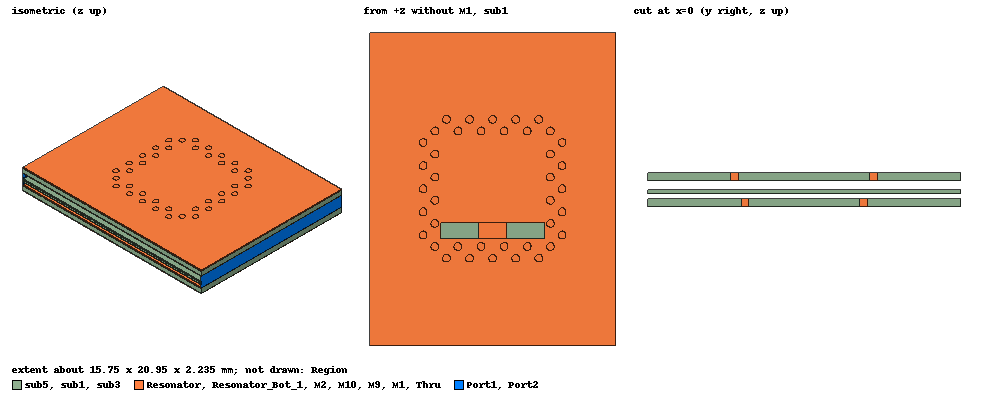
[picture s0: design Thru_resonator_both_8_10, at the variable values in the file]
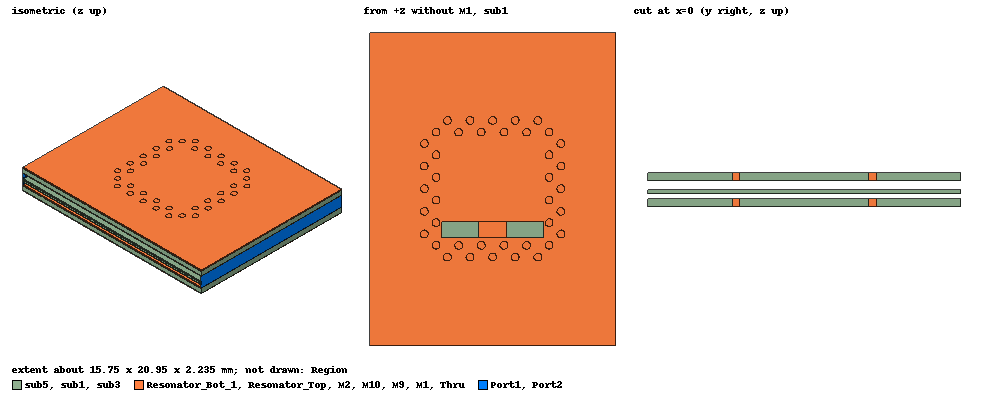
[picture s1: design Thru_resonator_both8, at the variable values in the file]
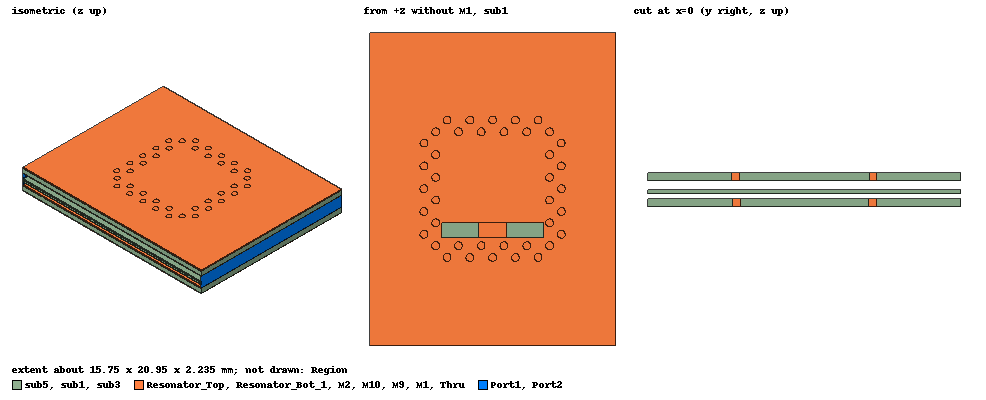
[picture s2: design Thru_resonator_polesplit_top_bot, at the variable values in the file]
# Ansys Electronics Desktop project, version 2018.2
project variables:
  $mask = 0.8mil
  $sub5 = 20mil
  $gap = 0mm
  $sub1 = 20mil
  $sub3 = 10mil
  $width = $a*2 + $l + 2mm
  $a = 6mm
  $l = $stripline_w
  $stripline_w = 1.75mm
  $length = (95-0.6) mm
  $GCPW_w = 2.15mm
  $GCPW_l = 4.7mm
  $cavity_length = 80mm
  $cavity_width = 30mm
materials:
  Rogers RO3010 (tm): permittivity=10.2 dielectric_loss_tangent=0.0035
  Rogers RT/duroid 6002 (tm): permittivity=2.94 dielectric_loss_tangent=0.0012
  air: permittivity=1.0006 permeability=1.0000004
  copper: permeability=0.999991 conductivity=58000000
  vacuum: permittivity=1

design Thru_resonator_both_8_10 (HFSS, DrivenModal, model units mm)
options: Calculate_Lossy_Dielectrics
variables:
  layer3_height = 4*$mask + $sub5 + sub4 + $gap*2
  length = (2.5 - 1 - .633) mm
  gap = 0.889mm
  w_2 = 0.61mm
  layer1_height = 8*$mask + $sub5 + sub4 + $sub3 + sub2 + $gap*4
  layer2_height = 6*$mask + $sub5 + sub4 + $sub3 + $gap*3
  layer4_height = 2*$mask + $sub5 + $gap
  height = $mask*10 + $sub1 + sub2 + $sub3 + sub4 + $sub5
  radius = 0.25mm
  via = 0.5mm
  radius_s = 0.1mm
  height_s = $mask*6 + $sub1 + sub2 + $sub3
  port_width = 14.6mm
  port_height = 6mm
  gap1 = 20mm
  wid = 7.25mm + via_r/2
  via_r = 0.25mm
  aper = 1mm
  sub1 = 20mil
  sub2 = 20mil
  sub4 = 10mil
  wid_bot = 5.95mm + via_r/2
  a = 4.6mm
  g = 0.2mm
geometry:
  sub3 [Rogers RT/duroid 6002 (tm)] = box(corner=(-$width/2, -$length/2, 5*$mask + $sub5 + sub4 + $gap*2), size=($width, $length, $sub3))
  Rectangle5 = rectangle(corner=(-$GCPW_w/2, -$length/2, layer3_height + $mask + $sub3), x_size=$GCPW_w, y_size=$GCPW_l - gap)
  Thru [copper] = Rectangle5.duplicate_around_axis(axis=Z, angle=180deg, total=2)
  Thru.thicken($mask)
  Polyline1 = polyline(z=layer3_height + $mask + $sub3, xy: ($GCPW_w/2, $length/2 - $GCPW_l + gap) (0.305mm, $length/2 - $GCPW_l -1 mm) (-0.305mm, $length/2 - $GCPW_l -1 mm) (-$GCPW_w/2, $length/2 - $GCPW_l + gap) ($GCPW_w/2, $length/2 - $GCPW_l + gap), closed, covered)
  Polyline1.thicken(-$mask)
  Rectangle8 = rectangle(corner=(-w_2/2, -$length/2 + $GCPW_l +1 mm, layer3_height+$mask+$sub3), x_size=w_2, y_size=length)
  Rectangle8_1 = Rectangle8.duplicate_around_axis(axis=Z, angle=180deg, total=2)
  Rectangle8_1.thicken($mask)
  Polyline2 = polyline(z=layer3_height + $mask + $sub3, xy: (0.305mm, $length/2 - $GCPW_l -1 mm - length) ($stripline_w/2, $cavity_length/2 - gap) (-$stripline_w/2, $cavity_length/2 - gap) (-0.305mm, $length/2 - $GCPW_l -1 mm - length) (0.305mm, $length/2 - $GCPW_l -1 mm - length), closed, covered)
  Polyline2.thicken(-$mask)
  Rectangle6 = rectangle(corner=(-$stripline_w/2, -$cavity_length/2 + gap, layer3_height + $mask + $sub3), x_size=$stripline_w, y_size=$cavity_length - 2*gap)
  Rectangle6.thicken($mask)
  Polyline3 = polyline(z=layer3_height + $mask + $sub3, xy: ($stripline_w/2, -$cavity_length/2 + gap) (0.305mm, -$length/2 + $GCPW_l +1 mm + length) (-0.305mm, -$length/2 + $GCPW_l +1 mm + length) (-$stripline_w/2, -$cavity_length/2 + gap) ($stripline_w/2, -$cavity_length/2 + gap), closed, covered)
  Polyline3.thicken(-$mask)
  Rectangle8.thicken($mask)
  Polyline4 = polyline(z=layer3_height + $mask + $sub3, xy: ($GCPW_w/2, -$length/2 + $GCPW_l - gap) (0.305mm, -$length/2 + $GCPW_l +1 mm) (-0.305mm, -$length/2 + $GCPW_l +1 mm) (-$GCPW_w/2, -$length/2 + $GCPW_l - gap) ($GCPW_w/2, -$length/2 + $GCPW_l - gap), closed, covered)
  [Polyline4, Rectangle5].thicken($mask)
  Thru.unite(Polyline1, Rectangle8_1, Polyline2, Rectangle6, Polyline3, Rectangle8, Polyline4, Rectangle5)
  M1 [copper] = box(corner=(-$width/2, -$length/2, 9*$mask + $sub5 + sub4 + $sub3 + sub2 + sub1 + $gap*4), size=($width, $length, $mask))
  sub1 [Rogers RO3010 (tm)] = box(corner=(-$width/2, -$length/2, 9*$mask + $sub5 + sub4 + $sub3 + sub2 + $gap*4), size=($width, $length, sub1))
  M2 [copper] = box(corner=(-$width/2, -$length/2, layer1_height), size=($width, $length, $mask))
  M9 [copper] = box(corner=(-$width/2, -$length/2, $mask + $sub5), size=($width, $length, $mask))
  sub5 [Rogers RO3010 (tm)] = box(corner=(-$width/2, -$length/2, $mask), size=($width, $length, $sub5))
  M10 [copper] = box(corner=(-$width/2, -$length/2, 0mm), size=($width, $length, $mask))
  Cut1 = box(corner=(-$width/2, -gap1/2, 0mm), size=($width, -60mm, 6mm))
  Cut2 = Cut1.duplicate_around_axis(axis=Z, angle=180deg, total=2)
  Cut3 = box(corner=(-$cavity_width/2, -gap1/2, 0mm), size=(-10mm, gap1, 6mm))
  Cut4 = Cut3.duplicate_around_axis(axis=Z, angle=180deg, total=2)
  Cut1_1 = Cut1.copy()
  Cut2_1 = Cut2.copy()
  Cut3_1 = Cut3.copy()
  Cut4_1 = Cut4.copy()
  [Cut1..Cut4].delete()
  Port1 = rectangle(corner=(-$width/2, -gap1/2, $mask*2 + $sub5), z_size=sub2 + $sub3 + sub4 + $mask*6, x_size=$width)
  Port2 = Port1.duplicate_around_axis(axis=Z, angle=180deg, total=2)
  Region [air] = region(percentage_offset=0 on all sides)
  Cut1_1_1 = Cut1_1.copy()
  Cut2_1_1 = Cut2_1.copy()
  Cut3_1_1 = Cut3_1.copy()
  Cut4_1_1 = Cut4_1.copy()
  M1.subtract(Cut1_1_1, Cut2_1_1, Cut3_1_1, Cut4_1_1)
  Cut1_1_2 = Cut1_1.copy()
  Cut2_1_2 = Cut2_1.copy()
  Cut3_1_2 = Cut3_1.copy()
  Cut4_1_2 = Cut4_1.copy()
  M10.subtract(Cut1_1_2, Cut2_1_2, Cut3_1_2, Cut4_1_2)
  Cut1_1_3 = Cut1_1.copy()
  Cut2_1_3 = Cut2_1.copy()
  Cut3_1_3 = Cut3_1.copy()
  Cut4_1_3 = Cut4_1.copy()
  M2.subtract(Cut1_1_3, Cut2_1_3, Cut3_1_3, Cut4_1_3)
  Cut1_1_4 = Cut1_1.copy()
  Cut2_1_4 = Cut2_1.copy()
  Cut3_1_4 = Cut3_1.copy()
  Cut4_1_4 = Cut4_1.copy()
  M9.subtract(Cut1_1_4, Cut2_1_4, Cut3_1_4, Cut4_1_4)
  Cut1_1_5 = Cut1_1.copy()
  Cut2_1_5 = Cut2_1.copy()
  Cut3_1_5 = Cut3_1.copy()
  Cut4_1_5 = Cut4_1.copy()
  sub1.subtract(Cut1_1_5, Cut2_1_5, Cut3_1_5, Cut4_1_5)
  Cut1_1_6 = Cut1_1.copy()
  Cut2_1_6 = Cut2_1.copy()
  Cut3_1_6 = Cut3_1.copy()
  Cut4_1_6 = Cut4_1.copy()
  sub3.subtract(Cut1_1_6, Cut2_1_6, Cut3_1_6, Cut4_1_6)
  Cut1_1_7 = Cut1_1.copy()
  Cut2_1_7 = Cut2_1.copy()
  Cut3_1_7 = Cut3_1.copy()
  Cut4_1_7 = Cut4_1.copy()
  sub5.subtract(Cut1_1_7, Cut2_1_7, Cut3_1_7, Cut4_1_7)
  Cut1_1_8 = Cut1_1.copy()
  Cut1_1.delete()
  Cut2_1_8 = Cut2_1.copy()
  Cut2_1.delete()
  Cut3_1_8 = Cut3_1.copy()
  Cut3_1.delete()
  Cut4_1_8 = Cut4_1.copy()
  Cut4_1.delete()
  Thru.subtract(Cut1_1_8, Cut2_1_8, Cut3_1_8, Cut4_1_8)
  Resonator [copper] = cylinder(axis=Z, base_centre=(-wid/2, -wid/2, layer1_height), radius=via_r, height=2*$mask + sub1)
  Cylinder5_1..Cylinder5_5 = Resonator.duplicate_along_line(step=((wid)/5, 0mm, 0mm), total=6)
  Cylinder5_6..Cylinder5_10 = Resonator.duplicate_along_line(step=(0mm, (wid)/5, 0mm), total=6)
  Cylinder5_11 = Resonator.duplicate_around_axis(axis=Z, angle=180deg, total=2)
  Cylinder5_1_1 = Cylinder5_1.duplicate_around_axis(axis=Z, angle=180deg, total=2)
  Cylinder5_2_1 = Cylinder5_2.duplicate_around_axis(axis=Z, angle=180deg, total=2)
  Cylinder5_3_1 = Cylinder5_3.duplicate_around_axis(axis=Z, angle=180deg, total=2)
  Cylinder5_4_1 = Cylinder5_4.duplicate_around_axis(axis=Z, angle=180deg, total=2)
  Cylinder5_6_1 = Cylinder5_6.duplicate_around_axis(axis=Z, angle=180deg, total=2)
  Cylinder5_7_1 = Cylinder5_7.duplicate_around_axis(axis=Z, angle=180deg, total=2)
  Cylinder5_8_1 = Cylinder5_8.duplicate_around_axis(axis=Z, angle=180deg, total=2)
  Cylinder5_9_1 = Cylinder5_9.duplicate_around_axis(axis=Z, angle=180deg, total=2)
  Resonator.unite(Cylinder5_1, Cylinder5_1_1, Cylinder5_2, Cylinder5_2_1, Cylinder5_3, Cylinder5_3_1, Cylinder5_4, Cylinder5_4_1, Cylinder5_5, Cylinder5_6, Cylinder5_6_1, Cylinder5_7, Cylinder5_7_1, Cylinder5_8, Cylinder5_8_1, Cylinder5_9, Cylinder5_9_1, Cylinder5_10, Cylinder5_11)
  Box1 = box(corner=(-(wid - 3*via_r)/2, -wid/2 + 2*via_r, layer1_height), size=(wid - 3*via_r, aper, $mask))
  M2.subtract(Box1)
  Resonator_1 = Resonator.copy()
  M1.subtract(Resonator_1)
  Resonator_2 = Resonator.copy()
  M2.subtract(Resonator_2)
  Resonator_3 = Resonator.copy()
  sub1.subtract(Resonator_3)
  Via_wall = cylinder(axis=Z, base_centre=(-wid/2 + (wid)/10, -wid/2  - 3*via_r, layer1_height), radius=via_r, height=$mask*2 + sub1)
  Cylinder1_1..Cylinder1_4 = Via_wall.duplicate_along_line(step=(wid/5, 0mm, 0mm), total=5)
  Cylinder1_5, Cylinder1_6, Cylinder1_7 = Via_wall.duplicate_around_axis(axis=Z, angle=90deg, total=4)
  Cylinder1_1_1, Cylinder1_1_2, Cylinder1_1_3 = Cylinder1_1.duplicate_around_axis(axis=Z, angle=90deg, total=4)
  Cylinder1_2_1, Cylinder1_2_2, Cylinder1_2_3 = Cylinder1_2.duplicate_around_axis(axis=Z, angle=90deg, total=4)
  Cylinder1_3_1, Cylinder1_3_2, Cylinder1_3_3 = Cylinder1_3.duplicate_around_axis(axis=Z, angle=90deg, total=4)
  Cylinder1_4_1, Cylinder1_4_2, Cylinder1_4_3 = Cylinder1_4.duplicate_around_axis(axis=Z, angle=90deg, total=4)
  Via_wall.unite(Cylinder1_1, Cylinder1_1_1, Cylinder1_1_2, Cylinder1_1_3, Cylinder1_2, Cylinder1_2_1, Cylinder1_2_2, Cylinder1_2_3, Cylinder1_3, Cylinder1_3_1, Cylinder1_3_2, Cylinder1_3_3, Cylinder1_4, Cylinder1_4_1, Cylinder1_4_2, Cylinder1_4_3, Cylinder1_5, Cylinder1_6, Cylinder1_7)
  Via_wall_1 = Via_wall.copy()
  M1.subtract(Via_wall_1)
  Via_wall_2 = Via_wall.copy()
  M2.subtract(Via_wall_2)
  Via_wall_3 = Via_wall.copy()
  sub1.subtract(Via_wall_3)
  Resonator_Bot = cylinder(axis=Z, base_centre=(-wid_bot/2, -wid_bot/2, 0mm), radius=via_r, height=$sub5 + 2*$mask)
  Cylinder5_13..Cylinder5_17 = Resonator_Bot.duplicate_along_line(step=(wid_bot/5, 0mm, 0mm), total=6)
  Cylinder5_18..Cylinder5_22 = Resonator_Bot.duplicate_along_line(step=(0mm, wid_bot/5, 0mm), total=6)
  Resonator_Bot_1 [copper] = Resonator_Bot.duplicate_around_axis(axis=Z, angle=180deg, total=2)
  Cylinder5_23 = Resonator_Bot.duplicate_along_line(step=(wid_bot/10, -3*via_r, 0mm), total=2)
  Cylinder5_12 = Resonator_Bot.duplicate_along_line(step=(-3*via_r, wid_bot/10, 0mm), total=2)
  Cylinder5_1_2 = Cylinder5_13.duplicate_around_axis(axis=Z, angle=180deg, total=2)
  Cylinder5_2_2 = Cylinder5_14.duplicate_around_axis(axis=Z, angle=180deg, total=2)
  Cylinder5_3_2 = Cylinder5_15.duplicate_around_axis(axis=Z, angle=180deg, total=2)
  Cylinder5_4_2 = Cylinder5_16.duplicate_around_axis(axis=Z, angle=180deg, total=2)
  Cylinder5_6_2 = Cylinder5_18.duplicate_around_axis(axis=Z, angle=180deg, total=2)
  Cylinder5_7_2 = Cylinder5_19.duplicate_around_axis(axis=Z, angle=180deg, total=2)
  Cylinder5_8_2 = Cylinder5_20.duplicate_around_axis(axis=Z, angle=180deg, total=2)
  Cylinder5_9_2 = Cylinder5_21.duplicate_around_axis(axis=Z, angle=180deg, total=2)
  Cylinder5_11_1..Cylinder5_11_4 = Cylinder5_23.duplicate_along_line(step=(wid_bot/5, 0mm, 0mm), total=5)
  Cylinder5_11_5 = Cylinder5_23.duplicate_around_axis(axis=Z, angle=180deg, total=2)
  Cylinder5_11_1_1 = Cylinder5_11_1.duplicate_around_axis(axis=Z, angle=180deg, total=2)
  Cylinder5_11_2_1 = Cylinder5_11_2.duplicate_around_axis(axis=Z, angle=180deg, total=2)
  Cylinder5_11_3_1 = Cylinder5_11_3.duplicate_around_axis(axis=Z, angle=180deg, total=2)
  Cylinder5_11_4_1 = Cylinder5_11_4.duplicate_around_axis(axis=Z, angle=180deg, total=2)
  Cylinder5_12_1..Cylinder5_12_4 = Cylinder5_12.duplicate_along_line(step=(0mm, wid_bot/5, 0mm), total=5)
  Cylinder5_12_5 = Cylinder5_12.duplicate_around_axis(axis=Z, angle=180deg, total=2)
  Cylinder5_12_1_1 = Cylinder5_12_1.duplicate_around_axis(axis=Z, angle=180deg, total=2)
  Cylinder5_12_2_1 = Cylinder5_12_2.duplicate_around_axis(axis=Z, angle=180deg, total=2)
  Cylinder5_12_3_1 = Cylinder5_12_3.duplicate_around_axis(axis=Z, angle=180deg, total=2)
  Cylinder5_12_4_1 = Cylinder5_12_4.duplicate_around_axis(axis=Z, angle=180deg, total=2)
  Resonator_Bot.unite(Cylinder5_13, Cylinder5_1_2, Cylinder5_14, Cylinder5_2_2, Cylinder5_15, Cylinder5_3_2, Cylinder5_16, Cylinder5_4_2, Cylinder5_17, Cylinder5_18, Cylinder5_6_2, Cylinder5_19, Cylinder5_7_2, Cylinder5_20, Cylinder5_8_2, Cylinder5_21, Cylinder5_9_2, Cylinder5_22, Cylinder5_23, Cylinder5_11_1, Cylinder5_11_1_1, Cylinder5_11_2, Cylinder5_11_2_1, Cylinder5_11_3, Cylinder5_11_3_1, Cylinder5_11_4, Cylinder5_11_4_1, Cylinder5_11_5, Cylinder5_12, Cylinder5_12_1, Cylinder5_12_1_1, Cylinder5_12_2, Cylinder5_12_2_1, Cylinder5_12_3, Cylinder5_12_3_1, Cylinder5_12_4, Cylinder5_12_4_1, Cylinder5_12_5)
  Resonator_Bot_1.unite(Resonator_Bot)
  Resonator.unite(Via_wall)
  Resonator_Bot_1_1 = Resonator_Bot_1.copy()
  M10.subtract(Resonator_Bot_1_1)
  Resonator_Bot_1_2 = Resonator_Bot_1.copy()
  M9.subtract(Resonator_Bot_1_2)
  Resonator_Bot_1_3 = Resonator_Bot_1.copy()
  sub5.subtract(Resonator_Bot_1_3)
  Box2 = box(corner=(-(wid_bot - 3*via_r)/2, -wid_bot/2 + 2*via_r, $mask + $sub5), size=(wid_bot - 3*via_r, aper, $mask))
  M9.subtract(Box2)
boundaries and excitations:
  1: Wave Port Objects=Port1 NumModes=1 Modes{Mode1{CharImp=Zpi}}
  2: Wave Port Objects=Port2 NumModes=1 Modes{Mode1{CharImp=Zpi}}
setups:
  Setup1: HfssDriven AdaptMultipleFreqs MultipleAdaptiveFreqsSetup{8GHz(0.01) 10GHz(0.01)} MaximumPasses=50 MinimumPasses=1 MinimumConvergedPasses=3 PercentRefinement=30 BasisOrder=1 PortAccuracy=2
    sweep Sweep: 7GHz to 11GHz step 0.0005GHz; Type=Interpolating InterpTolerance=0.5 InterpMaxSolns=250 InterpUsePortImped=false PassivityErrorTolerance=0.0001
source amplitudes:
  1:1: 1W 0deg
  2:1: 0W 0deg
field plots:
  Mag_E1: E Field in sub1 on Setup1 : LastAdaptive at Freq=8GHz Phase=0deg
  Mag_E2: E Field over sub1.face(+z) on Setup1 : LastAdaptive at Freq=8GHz Phase=0deg
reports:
  S Parameter Plot 1: dB(S(1,1)), dB(S(2,1)) vs Freq on Setup1 : Sweep; markers m1 at 7.6855GHz, m2 at 7.981GHz

design Thru_resonator_both8 (HFSS, DrivenModal, model units mm)
options: Calculate_Lossy_Dielectrics
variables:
  layer3_height = 4*$mask + $sub5 + sub4 + $gap*2
  length = (2.5 - 1 - .633) mm
  gap = 0.889mm
  w_2 = 0.61mm
  layer1_height = 8*$mask + $sub5 + sub4 + $sub3 + sub2 + $gap*4
  layer2_height = 6*$mask + $sub5 + sub4 + $sub3 + $gap*3
  layer4_height = 2*$mask + $sub5 + $gap
  height = $mask*10 + $sub1 + sub2 + $sub3 + sub4 + $sub5
  radius = 0.25mm
  via = 0.5mm
  radius_s = 0.1mm
  height_s = $mask*6 + $sub1 + sub2 + $sub3
  port_width = 14.6mm
  port_height = 6mm
  gap1 = 20mm
  wid = 7.25mm + via_r/2
  via_r = 0.25mm
  aper = 1mm
  sub1 = 20mil
  sub2 = 20mil
  sub4 = 10mil
  wid_bot = 7.1mm + via_r/2
  wid_top = 7.1mm + via_r/2
  a = 4.6mm
  g = 0.2mm
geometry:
  sub3 [Rogers RT/duroid 6002 (tm)] = box(corner=(-$width/2, -$length/2, 5*$mask + $sub5 + sub4 + $gap*2), size=($width, $length, $sub3))
  Rectangle5 = rectangle(corner=(-$GCPW_w/2, -$length/2, layer3_height + $mask + $sub3), x_size=$GCPW_w, y_size=$GCPW_l - gap)
  Thru [copper] = Rectangle5.duplicate_around_axis(axis=Z, angle=180deg, total=2)
  Thru.thicken($mask)
  Polyline1 = polyline(z=layer3_height + $mask + $sub3, xy: ($GCPW_w/2, $length/2 - $GCPW_l + gap) (0.305mm, $length/2 - $GCPW_l -1 mm) (-0.305mm, $length/2 - $GCPW_l -1 mm) (-$GCPW_w/2, $length/2 - $GCPW_l + gap) ($GCPW_w/2, $length/2 - $GCPW_l + gap), closed, covered)
  Polyline1.thicken(-$mask)
  Rectangle8 = rectangle(corner=(-w_2/2, -$length/2 + $GCPW_l +1 mm, layer3_height+$mask+$sub3), x_size=w_2, y_size=length)
  Rectangle8_1 = Rectangle8.duplicate_around_axis(axis=Z, angle=180deg, total=2)
  Rectangle8_1.thicken($mask)
  Polyline2 = polyline(z=layer3_height + $mask + $sub3, xy: (0.305mm, $length/2 - $GCPW_l -1 mm - length) ($stripline_w/2, $cavity_length/2 - gap) (-$stripline_w/2, $cavity_length/2 - gap) (-0.305mm, $length/2 - $GCPW_l -1 mm - length) (0.305mm, $length/2 - $GCPW_l -1 mm - length), closed, covered)
  Polyline2.thicken(-$mask)
  Rectangle6 = rectangle(corner=(-$stripline_w/2, -$cavity_length/2 + gap, layer3_height + $mask + $sub3), x_size=$stripline_w, y_size=$cavity_length - 2*gap)
  Rectangle6.thicken($mask)
  Polyline3 = polyline(z=layer3_height + $mask + $sub3, xy: ($stripline_w/2, -$cavity_length/2 + gap) (0.305mm, -$length/2 + $GCPW_l +1 mm + length) (-0.305mm, -$length/2 + $GCPW_l +1 mm + length) (-$stripline_w/2, -$cavity_length/2 + gap) ($stripline_w/2, -$cavity_length/2 + gap), closed, covered)
  Polyline3.thicken(-$mask)
  Rectangle8.thicken($mask)
  Polyline4 = polyline(z=layer3_height + $mask + $sub3, xy: ($GCPW_w/2, -$length/2 + $GCPW_l - gap) (0.305mm, -$length/2 + $GCPW_l +1 mm) (-0.305mm, -$length/2 + $GCPW_l +1 mm) (-$GCPW_w/2, -$length/2 + $GCPW_l - gap) ($GCPW_w/2, -$length/2 + $GCPW_l - gap), closed, covered)
  [Polyline4, Rectangle5].thicken($mask)
  Thru.unite(Polyline1, Rectangle8_1, Polyline2, Rectangle6, Polyline3, Rectangle8, Polyline4, Rectangle5)
  M1 [copper] = box(corner=(-$width/2, -$length/2, 9*$mask + $sub5 + sub4 + $sub3 + sub2 + sub1 + $gap*4), size=($width, $length, $mask))
  sub1 [Rogers RO3010 (tm)] = box(corner=(-$width/2, -$length/2, 9*$mask + $sub5 + sub4 + $sub3 + sub2 + $gap*4), size=($width, $length, sub1))
  M2 [copper] = box(corner=(-$width/2, -$length/2, layer1_height), size=($width, $length, $mask))
  M9 [copper] = box(corner=(-$width/2, -$length/2, $mask + $sub5), size=($width, $length, $mask))
  sub5 [Rogers RO3010 (tm)] = box(corner=(-$width/2, -$length/2, $mask), size=($width, $length, $sub5))
  M10 [copper] = box(corner=(-$width/2, -$length/2, 0mm), size=($width, $length, $mask))
  Cut1 = box(corner=(-$width/2, -gap1/2, 0mm), size=($width, -60mm, 6mm))
  Cut2 = Cut1.duplicate_around_axis(axis=Z, angle=180deg, total=2)
  Cut3 = box(corner=(-$cavity_width/2, -gap1/2, 0mm), size=(-10mm, gap1, 6mm))
  Cut4 = Cut3.duplicate_around_axis(axis=Z, angle=180deg, total=2)
  Cut1_1 = Cut1.copy()
  Cut2_1 = Cut2.copy()
  Cut3_1 = Cut3.copy()
  Cut4_1 = Cut4.copy()
  [Cut1..Cut4].delete()
  Port1 = rectangle(corner=(-$width/2, -gap1/2, $mask*2 + $sub5), z_size=sub2 + $sub3 + sub4 + $mask*6, x_size=$width)
  Port2 = Port1.duplicate_around_axis(axis=Z, angle=180deg, total=2)
  Region [air] = region(percentage_offset=0 on all sides)
  Cut1_1_1 = Cut1_1.copy()
  Cut2_1_1 = Cut2_1.copy()
  Cut3_1_1 = Cut3_1.copy()
  Cut4_1_1 = Cut4_1.copy()
  M1.subtract(Cut1_1_1, Cut2_1_1, Cut3_1_1, Cut4_1_1)
  Cut1_1_2 = Cut1_1.copy()
  Cut2_1_2 = Cut2_1.copy()
  Cut3_1_2 = Cut3_1.copy()
  Cut4_1_2 = Cut4_1.copy()
  M10.subtract(Cut1_1_2, Cut2_1_2, Cut3_1_2, Cut4_1_2)
  Cut1_1_3 = Cut1_1.copy()
  Cut2_1_3 = Cut2_1.copy()
  Cut3_1_3 = Cut3_1.copy()
  Cut4_1_3 = Cut4_1.copy()
  M2.subtract(Cut1_1_3, Cut2_1_3, Cut3_1_3, Cut4_1_3)
  Cut1_1_4 = Cut1_1.copy()
  Cut2_1_4 = Cut2_1.copy()
  Cut3_1_4 = Cut3_1.copy()
  Cut4_1_4 = Cut4_1.copy()
  M9.subtract(Cut1_1_4, Cut2_1_4, Cut3_1_4, Cut4_1_4)
  Cut1_1_5 = Cut1_1.copy()
  Cut2_1_5 = Cut2_1.copy()
  Cut3_1_5 = Cut3_1.copy()
  Cut4_1_5 = Cut4_1.copy()
  sub1.subtract(Cut1_1_5, Cut2_1_5, Cut3_1_5, Cut4_1_5)
  Cut1_1_6 = Cut1_1.copy()
  Cut2_1_6 = Cut2_1.copy()
  Cut3_1_6 = Cut3_1.copy()
  Cut4_1_6 = Cut4_1.copy()
  sub3.subtract(Cut1_1_6, Cut2_1_6, Cut3_1_6, Cut4_1_6)
  Cut1_1_7 = Cut1_1.copy()
  Cut2_1_7 = Cut2_1.copy()
  Cut3_1_7 = Cut3_1.copy()
  Cut4_1_7 = Cut4_1.copy()
  sub5.subtract(Cut1_1_7, Cut2_1_7, Cut3_1_7, Cut4_1_7)
  Cut1_1_8 = Cut1_1.copy()
  Cut1_1.delete()
  Cut2_1_8 = Cut2_1.copy()
  Cut2_1.delete()
  Cut3_1_8 = Cut3_1.copy()
  Cut3_1.delete()
  Cut4_1_8 = Cut4_1.copy()
  Cut4_1.delete()
  Thru.subtract(Cut1_1_8, Cut2_1_8, Cut3_1_8, Cut4_1_8)
  Resonator_Top [copper] = cylinder(axis=Z, base_centre=(-wid_top/2, -wid_top/2, layer1_height), radius=via_r, height=2*$mask + sub1)
  Cylinder5_1..Cylinder5_5 = Resonator_Top.duplicate_along_line(step=((wid_top)/5, 0mm, 0mm), total=6)
  Cylinder5_6..Cylinder5_10 = Resonator_Top.duplicate_along_line(step=(0mm, (wid_top)/5, 0mm), total=6)
  Cylinder5_11 = Resonator_Top.duplicate_around_axis(axis=Z, angle=180deg, total=2)
  Cylinder5_1_1 = Cylinder5_1.duplicate_around_axis(axis=Z, angle=180deg, total=2)
  Cylinder5_2_1 = Cylinder5_2.duplicate_around_axis(axis=Z, angle=180deg, total=2)
  Cylinder5_3_1 = Cylinder5_3.duplicate_around_axis(axis=Z, angle=180deg, total=2)
  Cylinder5_4_1 = Cylinder5_4.duplicate_around_axis(axis=Z, angle=180deg, total=2)
  Cylinder5_6_1 = Cylinder5_6.duplicate_around_axis(axis=Z, angle=180deg, total=2)
  Cylinder5_7_1 = Cylinder5_7.duplicate_around_axis(axis=Z, angle=180deg, total=2)
  Cylinder5_8_1 = Cylinder5_8.duplicate_around_axis(axis=Z, angle=180deg, total=2)
  Cylinder5_9_1 = Cylinder5_9.duplicate_around_axis(axis=Z, angle=180deg, total=2)
  Resonator_Top.unite(Cylinder5_1, Cylinder5_1_1, Cylinder5_2, Cylinder5_2_1, Cylinder5_3, Cylinder5_3_1, Cylinder5_4, Cylinder5_4_1, Cylinder5_5, Cylinder5_6, Cylinder5_6_1, Cylinder5_7, Cylinder5_7_1, Cylinder5_8, Cylinder5_8_1, Cylinder5_9, Cylinder5_9_1, Cylinder5_10, Cylinder5_11)
  Aper_top = box(corner=(-(wid_top - 3*via_r)/2, -wid_top/2 + 2*via_r, layer1_height), size=(wid_top - 3*via_r, aper, $mask))
  Resonator_1 = Resonator_Top.copy()
  M1.subtract(Resonator_1)
  Resonator_2 = Resonator_Top.copy()
  M2.subtract(Resonator_2)
  Resonator_3 = Resonator_Top.copy()
  sub1.subtract(Resonator_3)
  Via_wall = cylinder(axis=Z, base_centre=(-wid_top/2 + (wid_top)/10, -wid_top/2  - 3*via_r, layer1_height), radius=via_r, height=$mask*2 + sub1)
  Cylinder1_1..Cylinder1_4 = Via_wall.duplicate_along_line(step=(wid_top/5, 0mm, 0mm), total=5)
  Cylinder1_5, Cylinder1_6, Cylinder1_7 = Via_wall.duplicate_around_axis(axis=Z, angle=90deg, total=4)
  Cylinder1_1_1, Cylinder1_1_2, Cylinder1_1_3 = Cylinder1_1.duplicate_around_axis(axis=Z, angle=90deg, total=4)
  Cylinder1_2_1, Cylinder1_2_2, Cylinder1_2_3 = Cylinder1_2.duplicate_around_axis(axis=Z, angle=90deg, total=4)
  Cylinder1_3_1, Cylinder1_3_2, Cylinder1_3_3 = Cylinder1_3.duplicate_around_axis(axis=Z, angle=90deg, total=4)
  Cylinder1_4_1, Cylinder1_4_2, Cylinder1_4_3 = Cylinder1_4.duplicate_around_axis(axis=Z, angle=90deg, total=4)
  Via_wall.unite(Cylinder1_1, Cylinder1_1_1, Cylinder1_1_2, Cylinder1_1_3, Cylinder1_2, Cylinder1_2_1, Cylinder1_2_2, Cylinder1_2_3, Cylinder1_3, Cylinder1_3_1, Cylinder1_3_2, Cylinder1_3_3, Cylinder1_4, Cylinder1_4_1, Cylinder1_4_2, Cylinder1_4_3, Cylinder1_5, Cylinder1_6, Cylinder1_7)
  Via_wall_1 = Via_wall.copy()
  M1.subtract(Via_wall_1)
  Via_wall_2 = Via_wall.copy()
  M2.subtract(Via_wall_2)
  Via_wall_3 = Via_wall.copy()
  sub1.subtract(Via_wall_3)
  Resonator_Bot = cylinder(axis=Z, base_centre=(-wid_bot/2, -wid_bot/2, 0mm), radius=via_r, height=$sub5 + 2*$mask)
  Cylinder5_13..Cylinder5_17 = Resonator_Bot.duplicate_along_line(step=(wid_bot/5, 0mm, 0mm), total=6)
  Cylinder5_18..Cylinder5_22 = Resonator_Bot.duplicate_along_line(step=(0mm, wid_bot/5, 0mm), total=6)
  Resonator_Bot_1 [copper] = Resonator_Bot.duplicate_around_axis(axis=Z, angle=180deg, total=2)
  Cylinder5_23 = Resonator_Bot.duplicate_along_line(step=(wid_bot/10, -3*via_r, 0mm), total=2)
  Cylinder5_12 = Resonator_Bot.duplicate_along_line(step=(-3*via_r, wid_bot/10, 0mm), total=2)
  Cylinder5_1_2 = Cylinder5_13.duplicate_around_axis(axis=Z, angle=180deg, total=2)
  Cylinder5_2_2 = Cylinder5_14.duplicate_around_axis(axis=Z, angle=180deg, total=2)
  Cylinder5_3_2 = Cylinder5_15.duplicate_around_axis(axis=Z, angle=180deg, total=2)
  Cylinder5_4_2 = Cylinder5_16.duplicate_around_axis(axis=Z, angle=180deg, total=2)
  Cylinder5_6_2 = Cylinder5_18.duplicate_around_axis(axis=Z, angle=180deg, total=2)
  Cylinder5_7_2 = Cylinder5_19.duplicate_around_axis(axis=Z, angle=180deg, total=2)
  Cylinder5_8_2 = Cylinder5_20.duplicate_around_axis(axis=Z, angle=180deg, total=2)
  Cylinder5_9_2 = Cylinder5_21.duplicate_around_axis(axis=Z, angle=180deg, total=2)
  Cylinder5_11_1..Cylinder5_11_4 = Cylinder5_23.duplicate_along_line(step=(wid_bot/5, 0mm, 0mm), total=5)
  Cylinder5_11_5 = Cylinder5_23.duplicate_around_axis(axis=Z, angle=180deg, total=2)
  Cylinder5_11_1_1 = Cylinder5_11_1.duplicate_around_axis(axis=Z, angle=180deg, total=2)
  Cylinder5_11_2_1 = Cylinder5_11_2.duplicate_around_axis(axis=Z, angle=180deg, total=2)
  Cylinder5_11_3_1 = Cylinder5_11_3.duplicate_around_axis(axis=Z, angle=180deg, total=2)
  Cylinder5_11_4_1 = Cylinder5_11_4.duplicate_around_axis(axis=Z, angle=180deg, total=2)
  Cylinder5_12_1..Cylinder5_12_4 = Cylinder5_12.duplicate_along_line(step=(0mm, wid_bot/5, 0mm), total=5)
  Cylinder5_12_5 = Cylinder5_12.duplicate_around_axis(axis=Z, angle=180deg, total=2)
  Cylinder5_12_1_1 = Cylinder5_12_1.duplicate_around_axis(axis=Z, angle=180deg, total=2)
  Cylinder5_12_2_1 = Cylinder5_12_2.duplicate_around_axis(axis=Z, angle=180deg, total=2)
  Cylinder5_12_3_1 = Cylinder5_12_3.duplicate_around_axis(axis=Z, angle=180deg, total=2)
  Cylinder5_12_4_1 = Cylinder5_12_4.duplicate_around_axis(axis=Z, angle=180deg, total=2)
  Resonator_Bot.unite(Cylinder5_13, Cylinder5_1_2, Cylinder5_14, Cylinder5_2_2, Cylinder5_15, Cylinder5_3_2, Cylinder5_16, Cylinder5_4_2, Cylinder5_17, Cylinder5_18, Cylinder5_6_2, Cylinder5_19, Cylinder5_7_2, Cylinder5_20, Cylinder5_8_2, Cylinder5_21, Cylinder5_9_2, Cylinder5_22, Cylinder5_23, Cylinder5_11_1, Cylinder5_11_1_1, Cylinder5_11_2, Cylinder5_11_2_1, Cylinder5_11_3, Cylinder5_11_3_1, Cylinder5_11_4, Cylinder5_11_4_1, Cylinder5_11_5, Cylinder5_12, Cylinder5_12_1, Cylinder5_12_1_1, Cylinder5_12_2, Cylinder5_12_2_1, Cylinder5_12_3, Cylinder5_12_3_1, Cylinder5_12_4, Cylinder5_12_4_1, Cylinder5_12_5)
  Resonator_Bot_1.unite(Resonator_Bot)
  Resonator_Top.unite(Via_wall)
  Resonator_Bot_1_1 = Resonator_Bot_1.copy()
  M10.subtract(Resonator_Bot_1_1)
  Resonator_Bot_1_2 = Resonator_Bot_1.copy()
  M9.subtract(Resonator_Bot_1_2)
  Resonator_Bot_1_3 = Resonator_Bot_1.copy()
  sub5.subtract(Resonator_Bot_1_3)
  Aper_bot = box(corner=(-(wid_bot - 3*via_r)/2, -wid_bot/2 + 2*via_r, $mask + $sub5), size=(wid_bot - 3*via_r, aper, $mask))
  Aper_top_1 = Aper_top.copy()
  Aper_top.delete()
  M2.subtract(Aper_top_1)
  M9.subtract(Aper_bot)
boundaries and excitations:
  1: Wave Port Objects=Port1 NumModes=1 Modes{Mode1{CharImp=Zpi}}
  2: Wave Port Objects=Port2 NumModes=1 Modes{Mode1{CharImp=Zpi}}
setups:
  Short_Sweep: HfssDriven Frequency=8GHz MaxDeltaS=0.01 MaximumPasses=50 MinimumPasses=1 MinimumConvergedPasses=3 PercentRefinement=30 BasisOrder=1 PortAccuracy=2
    sweep Sweep: 7GHz to 9GHz step 0.0005GHz; Type=Interpolating InterpTolerance=0.5 InterpMaxSolns=250 InterpUsePortImped=false PassivityErrorTolerance=0.0001
  Long_Sweep: HfssDriven AdaptMultipleFreqs MultipleAdaptiveFreqsSetup{2.5GHz(0.01) 5GHz(0.01) 7.5GHz(0.01) 10GHz(0.01)} MaximumPasses=50 MinimumPasses=1 MinimumConvergedPasses=3 PercentRefinement=30 BasisOrder=1 PortAccuracy=2
    sweep Long: 1GHz to 10GHz, 451 points; Type=Interpolating InterpTolerance=0.5 InterpMaxSolns=250 InterpUsePortImped=false PassivityErrorTolerance=0.0001
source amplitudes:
  1:1: 1W 0deg
  2:1: 0W 0deg
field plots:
  Mag_E3: E Field in sub1 on Short_Sweep : LastAdaptive at Freq=8GHz Phase=0deg
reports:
  S Parameter Plot 1: dB(S(1,1)), dB(S(2,1)) vs Freq on Short_Sweep : Sweep
  S Parameter Plot 2: dB(S(1,1)), dB(S(2,1)) vs Freq on Long_Sweep : Long; markers m1 at 3GHz

design Thru_resonator_polesplit_top_bot (HFSS, DrivenModal, model units mm)
options: Calculate_Lossy_Dielectrics
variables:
  layer3_height = 4*$mask + $sub5 + sub4 + $gap*2
  length = (2.5 - 1 - .633) mm
  gap = 0.889mm
  w_2 = 0.61mm
  layer1_height = 8*$mask + $sub5 + sub4 + $sub3 + sub2 + $gap*4
  layer2_height = 6*$mask + $sub5 + sub4 + $sub3 + $gap*3
  layer4_height = 2*$mask + $sub5 + $gap
  height = $mask*10 + $sub1 + sub2 + $sub3 + sub4 + $sub5
  radius = 0.25mm
  via = 0.5mm
  radius_s = 0.1mm
  height_s = $mask*6 + $sub1 + sub2 + $sub3
  port_width = 14.6mm
  port_height = 6mm
  gap1 = 20mm
  wid = 7.25mm + via_r/2
  via_r = 0.25mm
  aper = 1mm
  sub1 = 20mil
  sub2 = 20mil
  sub4 = 10mil
  wid_bot = 7.05mm + via_r/2
  wid_top = 7.15mm + via_r/2
  a = 4.6mm
  g = 0.2mm
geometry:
  sub3 [Rogers RT/duroid 6002 (tm)] = box(corner=(-$width/2, -$length/2, 5*$mask + $sub5 + sub4 + $gap*2), size=($width, $length, $sub3))
  Rectangle5 = rectangle(corner=(-$GCPW_w/2, -$length/2, layer3_height + $mask + $sub3), x_size=$GCPW_w, y_size=$GCPW_l - gap)
  Thru [copper] = Rectangle5.duplicate_around_axis(axis=Z, angle=180deg, total=2)
  Thru.thicken($mask)
  Polyline1 = polyline(z=layer3_height + $mask + $sub3, xy: ($GCPW_w/2, $length/2 - $GCPW_l + gap) (0.305mm, $length/2 - $GCPW_l -1 mm) (-0.305mm, $length/2 - $GCPW_l -1 mm) (-$GCPW_w/2, $length/2 - $GCPW_l + gap) ($GCPW_w/2, $length/2 - $GCPW_l + gap), closed, covered)
  Polyline1.thicken(-$mask)
  Rectangle8 = rectangle(corner=(-w_2/2, -$length/2 + $GCPW_l +1 mm, layer3_height+$mask+$sub3), x_size=w_2, y_size=length)
  Rectangle8_1 = Rectangle8.duplicate_around_axis(axis=Z, angle=180deg, total=2)
  Rectangle8_1.thicken($mask)
  Polyline2 = polyline(z=layer3_height + $mask + $sub3, xy: (0.305mm, $length/2 - $GCPW_l -1 mm - length) ($stripline_w/2, $cavity_length/2 - gap) (-$stripline_w/2, $cavity_length/2 - gap) (-0.305mm, $length/2 - $GCPW_l -1 mm - length) (0.305mm, $length/2 - $GCPW_l -1 mm - length), closed, covered)
  Polyline2.thicken(-$mask)
  Rectangle6 = rectangle(corner=(-$stripline_w/2, -$cavity_length/2 + gap, layer3_height + $mask + $sub3), x_size=$stripline_w, y_size=$cavity_length - 2*gap)
  Rectangle6.thicken($mask)
  Polyline3 = polyline(z=layer3_height + $mask + $sub3, xy: ($stripline_w/2, -$cavity_length/2 + gap) (0.305mm, -$length/2 + $GCPW_l +1 mm + length) (-0.305mm, -$length/2 + $GCPW_l +1 mm + length) (-$stripline_w/2, -$cavity_length/2 + gap) ($stripline_w/2, -$cavity_length/2 + gap), closed, covered)
  Polyline3.thicken(-$mask)
  Rectangle8.thicken($mask)
  Polyline4 = polyline(z=layer3_height + $mask + $sub3, xy: ($GCPW_w/2, -$length/2 + $GCPW_l - gap) (0.305mm, -$length/2 + $GCPW_l +1 mm) (-0.305mm, -$length/2 + $GCPW_l +1 mm) (-$GCPW_w/2, -$length/2 + $GCPW_l - gap) ($GCPW_w/2, -$length/2 + $GCPW_l - gap), closed, covered)
  [Polyline4, Rectangle5].thicken($mask)
  Thru.unite(Polyline1, Rectangle8_1, Polyline2, Rectangle6, Polyline3, Rectangle8, Polyline4, Rectangle5)
  M1 [copper] = box(corner=(-$width/2, -$length/2, 9*$mask + $sub5 + sub4 + $sub3 + sub2 + sub1 + $gap*4), size=($width, $length, $mask))
  sub1 [Rogers RO3010 (tm)] = box(corner=(-$width/2, -$length/2, 9*$mask + $sub5 + sub4 + $sub3 + sub2 + $gap*4), size=($width, $length, sub1))
  M2 [copper] = box(corner=(-$width/2, -$length/2, layer1_height), size=($width, $length, $mask))
  M9 [copper] = box(corner=(-$width/2, -$length/2, $mask + $sub5), size=($width, $length, $mask))
  sub5 [Rogers RO3010 (tm)] = box(corner=(-$width/2, -$length/2, $mask), size=($width, $length, $sub5))
  M10 [copper] = box(corner=(-$width/2, -$length/2, 0mm), size=($width, $length, $mask))
  Cut1 = box(corner=(-$width/2, -gap1/2, 0mm), size=($width, -60mm, 6mm))
  Cut2 = Cut1.duplicate_around_axis(axis=Z, angle=180deg, total=2)
  Cut3 = box(corner=(-$cavity_width/2, -gap1/2, 0mm), size=(-10mm, gap1, 6mm))
  Cut4 = Cut3.duplicate_around_axis(axis=Z, angle=180deg, total=2)
  Cut1_1 = Cut1.copy()
  Cut2_1 = Cut2.copy()
  Cut3_1 = Cut3.copy()
  Cut4_1 = Cut4.copy()
  [Cut1..Cut4].delete()
  Port1 = rectangle(corner=(-$width/2, -gap1/2, $mask*2 + $sub5), z_size=sub2 + $sub3 + sub4 + $mask*6, x_size=$width)
  Port2 = Port1.duplicate_around_axis(axis=Z, angle=180deg, total=2)
  Region [air] = region(percentage_offset=0 on all sides)
  Cut1_1_1 = Cut1_1.copy()
  Cut2_1_1 = Cut2_1.copy()
  Cut3_1_1 = Cut3_1.copy()
  Cut4_1_1 = Cut4_1.copy()
  M1.subtract(Cut1_1_1, Cut2_1_1, Cut3_1_1, Cut4_1_1)
  Cut1_1_2 = Cut1_1.copy()
  Cut2_1_2 = Cut2_1.copy()
  Cut3_1_2 = Cut3_1.copy()
  Cut4_1_2 = Cut4_1.copy()
  M10.subtract(Cut1_1_2, Cut2_1_2, Cut3_1_2, Cut4_1_2)
  Cut1_1_3 = Cut1_1.copy()
  Cut2_1_3 = Cut2_1.copy()
  Cut3_1_3 = Cut3_1.copy()
  Cut4_1_3 = Cut4_1.copy()
  M2.subtract(Cut1_1_3, Cut2_1_3, Cut3_1_3, Cut4_1_3)
  Cut1_1_4 = Cut1_1.copy()
  Cut2_1_4 = Cut2_1.copy()
  Cut3_1_4 = Cut3_1.copy()
  Cut4_1_4 = Cut4_1.copy()
  M9.subtract(Cut1_1_4, Cut2_1_4, Cut3_1_4, Cut4_1_4)
  Cut1_1_5 = Cut1_1.copy()
  Cut2_1_5 = Cut2_1.copy()
  Cut3_1_5 = Cut3_1.copy()
  Cut4_1_5 = Cut4_1.copy()
  sub1.subtract(Cut1_1_5, Cut2_1_5, Cut3_1_5, Cut4_1_5)
  Cut1_1_6 = Cut1_1.copy()
  Cut2_1_6 = Cut2_1.copy()
  Cut3_1_6 = Cut3_1.copy()
  Cut4_1_6 = Cut4_1.copy()
  sub3.subtract(Cut1_1_6, Cut2_1_6, Cut3_1_6, Cut4_1_6)
  Cut1_1_7 = Cut1_1.copy()
  Cut2_1_7 = Cut2_1.copy()
  Cut3_1_7 = Cut3_1.copy()
  Cut4_1_7 = Cut4_1.copy()
  sub5.subtract(Cut1_1_7, Cut2_1_7, Cut3_1_7, Cut4_1_7)
  Cut1_1_8 = Cut1_1.copy()
  Cut1_1.delete()
  Cut2_1_8 = Cut2_1.copy()
  Cut2_1.delete()
  Cut3_1_8 = Cut3_1.copy()
  Cut3_1.delete()
  Cut4_1_8 = Cut4_1.copy()
  Cut4_1.delete()
  Thru.subtract(Cut1_1_8, Cut2_1_8, Cut3_1_8, Cut4_1_8)
  Resonator_Top [copper] = cylinder(axis=Z, base_centre=(-wid_top/2, -wid_top/2, layer1_height), radius=via_r, height=2*$mask + sub1)
  Cylinder5_1..Cylinder5_5 = Resonator_Top.duplicate_along_line(step=((wid_top)/5, 0mm, 0mm), total=6)
  Cylinder5_6..Cylinder5_10 = Resonator_Top.duplicate_along_line(step=(0mm, (wid_top)/5, 0mm), total=6)
  Cylinder5_11 = Resonator_Top.duplicate_around_axis(axis=Z, angle=180deg, total=2)
  Cylinder5_1_1 = Cylinder5_1.duplicate_around_axis(axis=Z, angle=180deg, total=2)
  Cylinder5_2_1 = Cylinder5_2.duplicate_around_axis(axis=Z, angle=180deg, total=2)
  Cylinder5_3_1 = Cylinder5_3.duplicate_around_axis(axis=Z, angle=180deg, total=2)
  Cylinder5_4_1 = Cylinder5_4.duplicate_around_axis(axis=Z, angle=180deg, total=2)
  Cylinder5_6_1 = Cylinder5_6.duplicate_around_axis(axis=Z, angle=180deg, total=2)
  Cylinder5_7_1 = Cylinder5_7.duplicate_around_axis(axis=Z, angle=180deg, total=2)
  Cylinder5_8_1 = Cylinder5_8.duplicate_around_axis(axis=Z, angle=180deg, total=2)
  Cylinder5_9_1 = Cylinder5_9.duplicate_around_axis(axis=Z, angle=180deg, total=2)
  Resonator_Top.unite(Cylinder5_1, Cylinder5_1_1, Cylinder5_2, Cylinder5_2_1, Cylinder5_3, Cylinder5_3_1, Cylinder5_4, Cylinder5_4_1, Cylinder5_5, Cylinder5_6, Cylinder5_6_1, Cylinder5_7, Cylinder5_7_1, Cylinder5_8, Cylinder5_8_1, Cylinder5_9, Cylinder5_9_1, Cylinder5_10, Cylinder5_11)
  Aper_top = box(corner=(-(wid_top - 3*via_r)/2, -wid_top/2 + 2*via_r, layer1_height), size=(wid_top - 3*via_r, aper, $mask))
  Resonator_1 = Resonator_Top.copy()
  M1.subtract(Resonator_1)
  Resonator_2 = Resonator_Top.copy()
  M2.subtract(Resonator_2)
  Resonator_3 = Resonator_Top.copy()
  sub1.subtract(Resonator_3)
  Via_wall = cylinder(axis=Z, base_centre=(-wid_top/2 + (wid_top)/10, -wid_top/2  - 3*via_r, layer1_height), radius=via_r, height=$mask*2 + sub1)
  Cylinder1_1..Cylinder1_4 = Via_wall.duplicate_along_line(step=(wid_top/5, 0mm, 0mm), total=5)
  Cylinder1_5, Cylinder1_6, Cylinder1_7 = Via_wall.duplicate_around_axis(axis=Z, angle=90deg, total=4)
  Cylinder1_1_1, Cylinder1_1_2, Cylinder1_1_3 = Cylinder1_1.duplicate_around_axis(axis=Z, angle=90deg, total=4)
  Cylinder1_2_1, Cylinder1_2_2, Cylinder1_2_3 = Cylinder1_2.duplicate_around_axis(axis=Z, angle=90deg, total=4)
  Cylinder1_3_1, Cylinder1_3_2, Cylinder1_3_3 = Cylinder1_3.duplicate_around_axis(axis=Z, angle=90deg, total=4)
  Cylinder1_4_1, Cylinder1_4_2, Cylinder1_4_3 = Cylinder1_4.duplicate_around_axis(axis=Z, angle=90deg, total=4)
  Via_wall.unite(Cylinder1_1, Cylinder1_1_1, Cylinder1_1_2, Cylinder1_1_3, Cylinder1_2, Cylinder1_2_1, Cylinder1_2_2, Cylinder1_2_3, Cylinder1_3, Cylinder1_3_1, Cylinder1_3_2, Cylinder1_3_3, Cylinder1_4, Cylinder1_4_1, Cylinder1_4_2, Cylinder1_4_3, Cylinder1_5, Cylinder1_6, Cylinder1_7)
  Via_wall_1 = Via_wall.copy()
  M1.subtract(Via_wall_1)
  Via_wall_2 = Via_wall.copy()
  M2.subtract(Via_wall_2)
  Via_wall_3 = Via_wall.copy()
  sub1.subtract(Via_wall_3)
  Resonator_Bot = cylinder(axis=Z, base_centre=(-wid_bot/2, -wid_bot/2, 0mm), radius=via_r, height=$sub5 + 2*$mask)
  Cylinder5_13..Cylinder5_17 = Resonator_Bot.duplicate_along_line(step=(wid_bot/5, 0mm, 0mm), total=6)
  Cylinder5_18..Cylinder5_22 = Resonator_Bot.duplicate_along_line(step=(0mm, wid_bot/5, 0mm), total=6)
  Resonator_Bot_1 [copper] = Resonator_Bot.duplicate_around_axis(axis=Z, angle=180deg, total=2)
  Cylinder5_23 = Resonator_Bot.duplicate_along_line(step=(wid_bot/10, -3*via_r, 0mm), total=2)
  Cylinder5_12 = Resonator_Bot.duplicate_along_line(step=(-3*via_r, wid_bot/10, 0mm), total=2)
  Cylinder5_1_2 = Cylinder5_13.duplicate_around_axis(axis=Z, angle=180deg, total=2)
  Cylinder5_2_2 = Cylinder5_14.duplicate_around_axis(axis=Z, angle=180deg, total=2)
  Cylinder5_3_2 = Cylinder5_15.duplicate_around_axis(axis=Z, angle=180deg, total=2)
  Cylinder5_4_2 = Cylinder5_16.duplicate_around_axis(axis=Z, angle=180deg, total=2)
  Cylinder5_6_2 = Cylinder5_18.duplicate_around_axis(axis=Z, angle=180deg, total=2)
  Cylinder5_7_2 = Cylinder5_19.duplicate_around_axis(axis=Z, angle=180deg, total=2)
  Cylinder5_8_2 = Cylinder5_20.duplicate_around_axis(axis=Z, angle=180deg, total=2)
  Cylinder5_9_2 = Cylinder5_21.duplicate_around_axis(axis=Z, angle=180deg, total=2)
  Cylinder5_11_1..Cylinder5_11_4 = Cylinder5_23.duplicate_along_line(step=(wid_bot/5, 0mm, 0mm), total=5)
  Cylinder5_11_5 = Cylinder5_23.duplicate_around_axis(axis=Z, angle=180deg, total=2)
  Cylinder5_11_1_1 = Cylinder5_11_1.duplicate_around_axis(axis=Z, angle=180deg, total=2)
  Cylinder5_11_2_1 = Cylinder5_11_2.duplicate_around_axis(axis=Z, angle=180deg, total=2)
  Cylinder5_11_3_1 = Cylinder5_11_3.duplicate_around_axis(axis=Z, angle=180deg, total=2)
  Cylinder5_11_4_1 = Cylinder5_11_4.duplicate_around_axis(axis=Z, angle=180deg, total=2)
  Cylinder5_12_1..Cylinder5_12_4 = Cylinder5_12.duplicate_along_line(step=(0mm, wid_bot/5, 0mm), total=5)
  Cylinder5_12_5 = Cylinder5_12.duplicate_around_axis(axis=Z, angle=180deg, total=2)
  Cylinder5_12_1_1 = Cylinder5_12_1.duplicate_around_axis(axis=Z, angle=180deg, total=2)
  Cylinder5_12_2_1 = Cylinder5_12_2.duplicate_around_axis(axis=Z, angle=180deg, total=2)
  Cylinder5_12_3_1 = Cylinder5_12_3.duplicate_around_axis(axis=Z, angle=180deg, total=2)
  Cylinder5_12_4_1 = Cylinder5_12_4.duplicate_around_axis(axis=Z, angle=180deg, total=2)
  Resonator_Bot.unite(Cylinder5_13, Cylinder5_1_2, Cylinder5_14, Cylinder5_2_2, Cylinder5_15, Cylinder5_3_2, Cylinder5_16, Cylinder5_4_2, Cylinder5_17, Cylinder5_18, Cylinder5_6_2, Cylinder5_19, Cylinder5_7_2, Cylinder5_20, Cylinder5_8_2, Cylinder5_21, Cylinder5_9_2, Cylinder5_22, Cylinder5_23, Cylinder5_11_1, Cylinder5_11_1_1, Cylinder5_11_2, Cylinder5_11_2_1, Cylinder5_11_3, Cylinder5_11_3_1, Cylinder5_11_4, Cylinder5_11_4_1, Cylinder5_11_5, Cylinder5_12, Cylinder5_12_1, Cylinder5_12_1_1, Cylinder5_12_2, Cylinder5_12_2_1, Cylinder5_12_3, Cylinder5_12_3_1, Cylinder5_12_4, Cylinder5_12_4_1, Cylinder5_12_5)
  Resonator_Bot_1.unite(Resonator_Bot)
  Resonator_Top.unite(Via_wall)
  Resonator_Bot_1_1 = Resonator_Bot_1.copy()
  M10.subtract(Resonator_Bot_1_1)
  Resonator_Bot_1_2 = Resonator_Bot_1.copy()
  M9.subtract(Resonator_Bot_1_2)
  Resonator_Bot_1_3 = Resonator_Bot_1.copy()
  sub5.subtract(Resonator_Bot_1_3)
  Aper_bot = box(corner=(-(wid_bot - 3*via_r)/2, -wid_bot/2 + 2*via_r, $mask + $sub5), size=(wid_bot - 3*via_r, aper, $mask))
  Aper_top_1 = Aper_top.copy()
  Aper_top.delete()
  M2.subtract(Aper_top_1)
  M9.subtract(Aper_bot)
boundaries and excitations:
  1: Wave Port Objects=Port1 NumModes=1 Modes{Mode1{CharImp=Zpi}}
  2: Wave Port Objects=Port2 NumModes=1 Modes{Mode1{CharImp=Zpi}}
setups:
  Short_Sweep: HfssDriven Frequency=8GHz MaxDeltaS=0.01 MaximumPasses=50 MinimumPasses=1 MinimumConvergedPasses=3 PercentRefinement=30 BasisOrder=1 PortAccuracy=2
    sweep Sweep: 7GHz to 9GHz step 0.0005GHz; Type=Interpolating InterpTolerance=0.5 InterpMaxSolns=250 InterpUsePortImped=false PassivityErrorTolerance=0.0001
  Long_Sweep: HfssDriven AdaptMultipleFreqs MultipleAdaptiveFreqsSetup{2.5GHz(0.01) 5GHz(0.01) 7.5GHz(0.01) 10GHz(0.01)} MaximumPasses=50 MinimumPasses=1 MinimumConvergedPasses=3 PercentRefinement=30 BasisOrder=1 PortAccuracy=2
    sweep Long: 1GHz to 10GHz, 451 points; Type=Interpolating InterpTolerance=0.5 InterpMaxSolns=250 InterpUsePortImped=false PassivityErrorTolerance=0.0001
  Resonance: HfssDriven Frequency=8.32GHz MaxDeltaS=0.01 MaximumPasses=50 MinimumPasses=1 MinimumConvergedPasses=3 PercentRefinement=30 BasisOrder=1 PortAccuracy=2
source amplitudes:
  1:1: 1W 0deg
  2:1: 0W 0deg
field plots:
  Mag_E1: E Field in sub1 on Resonance : LastAdaptive at Freq=8.32GHz Phase=0deg
  Mag_E2: E Field in sub5 on Resonance : LastAdaptive at Freq=8.32GHz Phase=0deg
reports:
  S Parameter Plot 1: dB(S(1,1)), dB(S(2,1)) vs Freq on Short_Sweep : Sweep; markers m1 at 8.323GHz
  S Parameter Plot 2: dB(S(1,1)), dB(S(2,1)) vs Freq on Long_Sweep : Long; markers m1 at 3GHz
